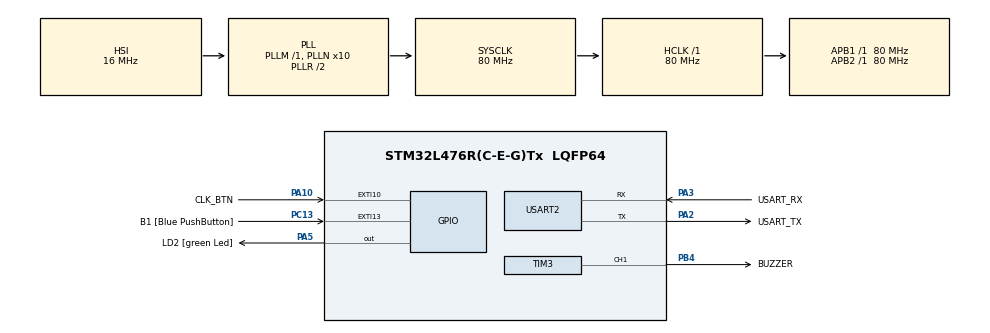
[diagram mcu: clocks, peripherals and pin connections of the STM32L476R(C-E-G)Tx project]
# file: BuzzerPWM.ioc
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Mcu.Family=STM32L4
Mcu.Name=STM32L476R(C-E-G)Tx
Mcu.Package=LQFP64
NVIC.EXTI15_10_IRQn=true\:0\:0\:false\:false\:true\:true\:true\:true
NVIC.PriorityGroup=NVIC_PRIORITYGROUP_4
NVIC.TIM3_IRQn=true\:0\:0\:false\:false\:true\:true\:true\:true
NVIC.TIM6_DAC_IRQn=true\:0\:0\:false\:false\:true\:true\:true\:true
PA10.GPIO_Label=CLK_BTN
PA10.GPIO_ModeDefaultEXTI=GPIO_MODE_IT_RISING_FALLING
PA10.Signal=GPXTI10
PA13\ (JTMS-SWDIO).GPIO_Label=TMS
PA13\ (JTMS-SWDIO).Mode=Serial_Wire
PA13\ (JTMS-SWDIO).Signal=SYS_JTMS-SWDIO
PA14\ (JTCK-SWCLK).GPIO_Label=TCK
PA14\ (JTCK-SWCLK).Mode=Serial_Wire
PA14\ (JTCK-SWCLK).Signal=SYS_JTCK-SWCLK
PA2.GPIO_Label=USART_TX
PA2.GPIO_Mode=GPIO_MODE_AF_PP
PA2.GPIO_PuPd=GPIO_NOPULL
PA2.GPIO_Speed=GPIO_SPEED_FREQ_VERY_HIGH
PA2.Mode=Asynchronous
PA2.Signal=USART2_TX
PA3.GPIO_Label=USART_RX
PA3.GPIO_Mode=GPIO_MODE_AF_PP
PA3.GPIO_PuPd=GPIO_NOPULL
PA3.GPIO_Speed=GPIO_SPEED_FREQ_VERY_HIGH
PA3.Mode=Asynchronous
PA3.Signal=USART2_RX
PA5.GPIO_Label=LD2 [green Led]
PA5.GPIO_ModeDefaultOutputPP=GPIO_MODE_OUTPUT_PP
PA5.GPIO_PuPd=GPIO_NOPULL
PA5.GPIO_Speed=GPIO_SPEED_FREQ_LOW
PA5.Signal=GPIO_Output
PB3\ (JTDO-TRACESWO).GPIO_Label=SWO
PB3\ (JTDO-TRACESWO).Signal=SYS_JTDO-SWO
PB4\ (NJTRST).GPIO_Label=BUZZER
PB4\ (NJTRST).Signal=S_TIM3_CH1
PC13.GPIO_Label=B1 [Blue PushButton]
PC13.GPIO_ModeDefaultEXTI=GPIO_MODE_IT_RISING_FALLING
PC13.GPIO_PuPd=GPIO_NOPULL
PC13.Signal=GPXTI13
PC14-OSC32_IN\ (PC14).Mode=LSE-External-Oscillator
PC14-OSC32_IN\ (PC14).Signal=RCC_OSC32_IN
PC15-OSC32_OUT\ (PC15).Mode=LSE-External-Oscillator
PC15-OSC32_OUT\ (PC15).Signal=RCC_OSC32_OUT
PH0-OSC_IN\ (PH0).Signal=RCC_OSC_IN
PH1-OSC_OUT\ (PH1).Signal=RCC_OSC_OUT
ProjectManager.HeapSize=0x200
ProjectManager.StackSize=0x400
ProjectManager.TargetToolchain=STM32CubeIDE
RCC.ADCFreq_Value=64000000
RCC.AHBFreq_Value=80000000
RCC.APB1Freq_Value=80000000
RCC.APB1TimFreq_Value=80000000
RCC.APB2Freq_Value=80000000
RCC.APB2TimFreq_Value=80000000
RCC.CortexFreq_Value=80000000
RCC.HCLKFreq_Value=80000000
RCC.HSE_VALUE=8000000
RCC.HSI_VALUE=16000000
RCC.MSI_VALUE=4000000
RCC.PLLN=10
RCC.PLLSourceVirtual=RCC_PLLSOURCE_HSI
RCC.PREFETCH_ENABLE=1
RCC.SYSCLKFreq_VALUE=80000000
RCC.SYSCLKSource=RCC_SYSCLKSOURCE_PLLCLK
RCC.USBFreq_Value=64000000
RCC.VCOOutputFreq_Value=160000000
SH.S_TIM3_CH1.0=TIM3_CH1,PWM Generation1 CH1
TIM3.Channel-PWM\ Generation1\ CH1=TIM_CHANNEL_1
TIM3.Period=38
TIM3.Prescaler=7999
TIM3.Pulse-PWM\ Generation1\ CH1=19
TIM6.Period=4999
TIM6.Prescaler=7999
USART2.VirtualMode-Asynchronous=VM_ASYNC
VP_TIM3_VS_ClockSourceINT.Mode=Internal
VP_TIM6_VS_ClockSourceINT.Mode=Enable_Timer
board=NUCLEO-L476RG

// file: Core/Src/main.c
/* USER CODE BEGIN Header */
/**
  ******************************************************************************
  * @file           : main.c
  * @brief          : Main program body
  ******************************************************************************
  * @attention
  *
  * Copyright (c) 2022 STMicroelectronics.
  * All rights reserved.
  *
  * This software is licensed under terms that can be found in the LICENSE file
  * in the root directory of this software component.
  * If no LICENSE file comes with this software, it is provided AS-IS.
  *
  ******************************************************************************
  */
/* USER CODE END Header */
#include "main.h"

/* USER CODE BEGIN Includes */
#include <stdbool.h>
/* USER CODE END Includes */

 TIM_HandleTypeDef htim3;
TIM_HandleTypeDef htim6;

UART_HandleTypeDef huart2;

void SystemClock_Config(void);
static void MX_GPIO_Init(void);
static void MX_USART2_UART_Init(void);
static void MX_TIM3_Init(void);
static void MX_TIM6_Init(void);

/* USER CODE BEGIN 0 */
GPIO_PinState stateLast = GPIO_PIN_RESET;
int tones[] = { 262, 277, 294, 311, 330, 349, 370, 392, 415, 440, 466, 494};
int counter = 0;
bool isBuzzer = false;

// Period
void HAL_TIM_PeriodElapsedCallback(TIM_HandleTypeDef * htim)
{
	if(counter >= sizeof(tones)/sizeof(tones[0]) )
	{
		counter = 0;
		HAL_TIM_Base_Stop_IT(&htim6);
		HAL_TIM_Base_Stop_IT(&htim3);
		return;
	}
	__HAL_TIM_SET_COUNTER(&htim3 , 0);// clock counter = 0
	__HAL_TIM_SET_COMPARE(&htim3, TIM_CHANNEL_1, 10000 / tones[counter] / 2); // period
	__HAL_TIM_SET_AUTORELOAD(&htim3,10000 / tones[counter]);// set new clock period
	counter++;
}

void HAL_GPIO_EXTI_Callback(uint16_t GPIO_Pin)
{
	GPIO_PinState state = HAL_GPIO_ReadPin(CLK_BTN_GPIO_Port, CLK_BTN_Pin);
	if(state == GPIO_PIN_RESET)
	{
		 HAL_TIM_Base_Start(&htim3);// start interrupts  HAL_TIM_PeriodElapsedCallbac
		 HAL_TIM_PWM_Start(&htim3, TIM_CHANNEL_1);
		 HAL_TIM_Base_Start_IT(&htim6);
	}
	else
	{
		HAL_TIM_Base_Stop(&htim3);
		HAL_TIM_PWM_Stop(&htim3, TIM_CHANNEL_1);
		HAL_TIM_Base_Stop_IT(&htim6);
	}
}

/* USER CODE END 0 */

int main(void)
{

  /* MCU Configuration--------------------------------------------------------*/

  /* Reset of all peripherals, Initializes the Flash interface and the Systick. */
  HAL_Init();

  /* Configure the system clock */
  SystemClock_Config();

  /* Initialize all configured peripherals */
  MX_GPIO_Init();
  MX_USART2_UART_Init();
  MX_TIM3_Init();
  MX_TIM6_Init();
  /* USER CODE BEGIN 2 */
 // HAL_NVIC_EnableIRQ(TIM6_IRQn); // turn on interrupts
  HAL_NVIC_EnableIRQ(TIM3_IRQn);
  HAL_NVIC_EnableIRQ(TIM6_DAC_IRQn);

  /* USER CODE END 2 */

  /* Infinite loop */
  while (1)
  {

  }
}

void SystemClock_Config(void)
{
  RCC_OscInitTypeDef RCC_OscInitStruct = {0};
  RCC_ClkInitTypeDef RCC_ClkInitStruct = {0};

  /** Configure the main internal regulator output voltage
  */
  if (HAL_PWREx_ControlVoltageScaling(PWR_REGULATOR_VOLTAGE_SCALE1) != HAL_OK)
  {
    Error_Handler();
  }

  /** Initializes the RCC Oscillators according to the specified parameters
  * in the RCC_OscInitTypeDef structure.
  */
  RCC_OscInitStruct.OscillatorType = RCC_OSCILLATORTYPE_HSI;
  RCC_OscInitStruct.HSIState = RCC_HSI_ON;
  RCC_OscInitStruct.HSICalibrationValue = RCC_HSICALIBRATION_DEFAULT;
  RCC_OscInitStruct.PLL.PLLState = RCC_PLL_ON;
  RCC_OscInitStruct.PLL.PLLSource = RCC_PLLSOURCE_HSI;
  RCC_OscInitStruct.PLL.PLLM = 1;
  RCC_OscInitStruct.PLL.PLLN = 10;
  RCC_OscInitStruct.PLL.PLLP = RCC_PLLP_DIV7;
  RCC_OscInitStruct.PLL.PLLQ = RCC_PLLQ_DIV2;
  RCC_OscInitStruct.PLL.PLLR = RCC_PLLR_DIV2;
  if (HAL_RCC_OscConfig(&RCC_OscInitStruct) != HAL_OK)
  {
    Error_Handler();
  }

  /** Initializes the CPU, AHB and APB buses clocks
  */
  RCC_ClkInitStruct.ClockType = RCC_CLOCKTYPE_HCLK|RCC_CLOCKTYPE_SYSCLK
                              |RCC_CLOCKTYPE_PCLK1|RCC_CLOCKTYPE_PCLK2;
  RCC_ClkInitStruct.SYSCLKSource = RCC_SYSCLKSOURCE_PLLCLK;
  RCC_ClkInitStruct.AHBCLKDivider = RCC_SYSCLK_DIV1;
  RCC_ClkInitStruct.APB1CLKDivider = RCC_HCLK_DIV1;
  RCC_ClkInitStruct.APB2CLKDivider = RCC_HCLK_DIV1;

  if (HAL_RCC_ClockConfig(&RCC_ClkInitStruct, FLASH_LATENCY_4) != HAL_OK)
  {
    Error_Handler();
  }
}

static void MX_TIM3_Init(void)
{

  TIM_ClockConfigTypeDef sClockSourceConfig = {0};
  TIM_MasterConfigTypeDef sMasterConfig = {0};
  TIM_OC_InitTypeDef sConfigOC = {0};

  htim3.Instance = TIM3;
  htim3.Init.Prescaler = 7999;
  htim3.Init.CounterMode = TIM_COUNTERMODE_UP;
  htim3.Init.Period = 38;
  htim3.Init.ClockDivision = TIM_CLOCKDIVISION_DIV1;
  htim3.Init.AutoReloadPreload = TIM_AUTORELOAD_PRELOAD_DISABLE;
  if (HAL_TIM_Base_Init(&htim3) != HAL_OK)
  {
    Error_Handler();
  }
  sClockSourceConfig.ClockSource = TIM_CLOCKSOURCE_INTERNAL;
  if (HAL_TIM_ConfigClockSource(&htim3, &sClockSourceConfig) != HAL_OK)
  {
    Error_Handler();
  }
  if (HAL_TIM_PWM_Init(&htim3) != HAL_OK)
  {
    Error_Handler();
  }
  sMasterConfig.MasterOutputTrigger = TIM_TRGO_RESET;
  sMasterConfig.MasterSlaveMode = TIM_MASTERSLAVEMODE_DISABLE;
  if (HAL_TIMEx_MasterConfigSynchronization(&htim3, &sMasterConfig) != HAL_OK)
  {
    Error_Handler();
  }
  sConfigOC.OCMode = TIM_OCMODE_PWM1;
  sConfigOC.Pulse = 19;
  sConfigOC.OCPolarity = TIM_OCPOLARITY_HIGH;
  sConfigOC.OCFastMode = TIM_OCFAST_DISABLE;
  if (HAL_TIM_PWM_ConfigChannel(&htim3, &sConfigOC, TIM_CHANNEL_1) != HAL_OK)
  {
    Error_Handler();
  }
  HAL_TIM_MspPostInit(&htim3);

}

static void MX_TIM6_Init(void)
{

  TIM_MasterConfigTypeDef sMasterConfig = {0};

  htim6.Instance = TIM6;
  htim6.Init.Prescaler = 7999;
  htim6.Init.CounterMode = TIM_COUNTERMODE_UP;
  htim6.Init.Period = 4999;
  htim6.Init.AutoReloadPreload = TIM_AUTORELOAD_PRELOAD_DISABLE;
  if (HAL_TIM_Base_Init(&htim6) != HAL_OK)
  {
    Error_Handler();
  }
  sMasterConfig.MasterOutputTrigger = TIM_TRGO_RESET;
  sMasterConfig.MasterSlaveMode = TIM_MASTERSLAVEMODE_DISABLE;
  if (HAL_TIMEx_MasterConfigSynchronization(&htim6, &sMasterConfig) != HAL_OK)
  {
    Error_Handler();
  }

}

static void MX_USART2_UART_Init(void)
{

  huart2.Instance = USART2;
  huart2.Init.BaudRate = 115200;
  huart2.Init.WordLength = UART_WORDLENGTH_8B;
  huart2.Init.StopBits = UART_STOPBITS_1;
  huart2.Init.Parity = UART_PARITY_NONE;
  huart2.Init.Mode = UART_MODE_TX_RX;
  huart2.Init.HwFlowCtl = UART_HWCONTROL_NONE;
  huart2.Init.OverSampling = UART_OVERSAMPLING_16;
  huart2.Init.OneBitSampling = UART_ONE_BIT_SAMPLE_DISABLE;
  huart2.AdvancedInit.AdvFeatureInit = UART_ADVFEATURE_NO_INIT;
  if (HAL_UART_Init(&huart2) != HAL_OK)
  {
    Error_Handler();
  }

}

static void MX_GPIO_Init(void)
{
  GPIO_InitTypeDef GPIO_InitStruct = {0};

  /* GPIO Ports Clock Enable */
  __HAL_RCC_GPIOC_CLK_ENABLE();
  __HAL_RCC_GPIOH_CLK_ENABLE();
  __HAL_RCC_GPIOA_CLK_ENABLE();
  __HAL_RCC_GPIOB_CLK_ENABLE();

  /*Configure GPIO pin Output Level */
  HAL_GPIO_WritePin(LD2_GPIO_Port, LD2_Pin, GPIO_PIN_RESET);

  /*Configure GPIO pin : B1_Pin */
  GPIO_InitStruct.Pin = B1_Pin;
  GPIO_InitStruct.Mode = GPIO_MODE_IT_RISING_FALLING;
  GPIO_InitStruct.Pull = GPIO_NOPULL;
  HAL_GPIO_Init(B1_GPIO_Port, &GPIO_InitStruct);

  /*Configure GPIO pin : LD2_Pin */
  GPIO_InitStruct.Pin = LD2_Pin;
  GPIO_InitStruct.Mode = GPIO_MODE_OUTPUT_PP;
  GPIO_InitStruct.Pull = GPIO_NOPULL;
  GPIO_InitStruct.Speed = GPIO_SPEED_FREQ_LOW;
  HAL_GPIO_Init(LD2_GPIO_Port, &GPIO_InitStruct);

  /*Configure GPIO pin : CLK_BTN_Pin */
  GPIO_InitStruct.Pin = CLK_BTN_Pin;
  GPIO_InitStruct.Mode = GPIO_MODE_IT_RISING_FALLING;
  GPIO_InitStruct.Pull = GPIO_NOPULL;
  HAL_GPIO_Init(CLK_BTN_GPIO_Port, &GPIO_InitStruct);

  /* EXTI interrupt init*/
  HAL_NVIC_SetPriority(EXTI15_10_IRQn, 0, 0);
  HAL_NVIC_EnableIRQ(EXTI15_10_IRQn);

}

void Error_Handler(void)
{
  __disable_irq();
  while (1)
  {
  }
}
